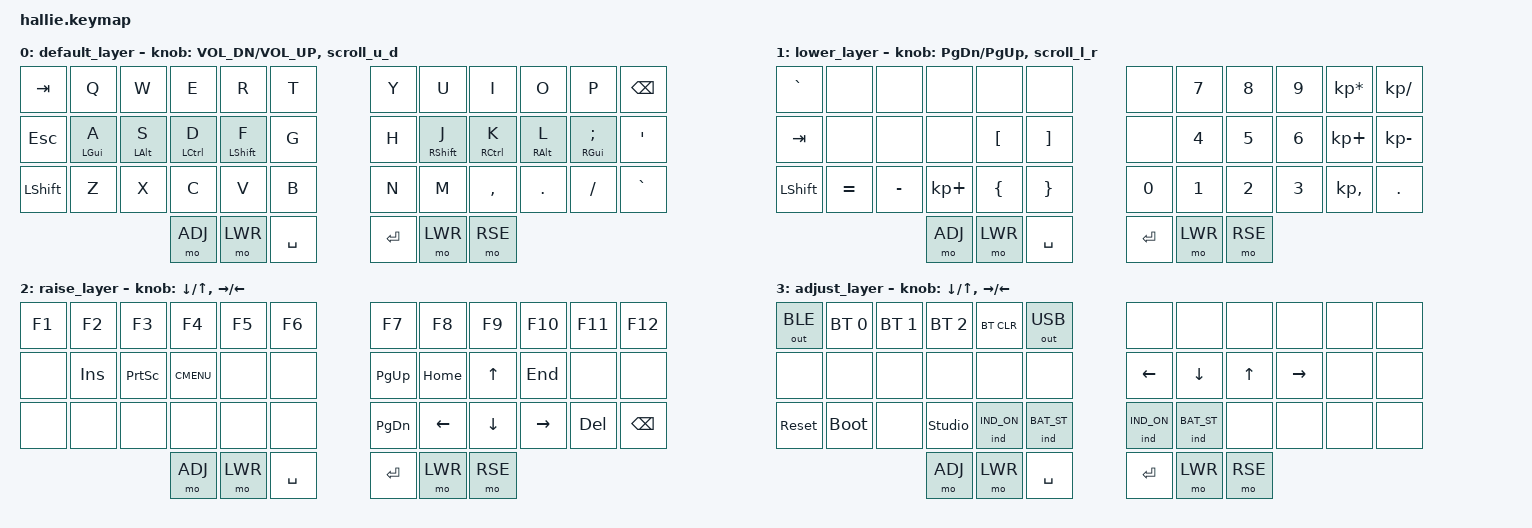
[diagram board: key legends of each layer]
#undef ZMK_BEHAVIORS_KEEP_ALL

#define ZMK_BEHAVIORS_KEEP_IND
#define ZMK_BEHAVIORS_KEEP_BT
#define ZMK_BEHAVIORS_KEEP_GRESC
#define ZMK_BEHAVIORS_KEEP_SYS_RESET
#define ZMK_BEHAVIORS_KEEP_BOOTLOADER
#define ZMK_BEHAVIORS_KEEP_CAPS_WORD
#define ZMK_BEHAVIORS_KEEP_KEY_REPEAT
#define ZMK_BEHAVIORS_KEEP_KT
#define ZMK_BEHAVIORS_KEEP_LT
#define ZMK_BEHAVIORS_KEEP_MT
#define ZMK_BEHAVIORS_KEEP_SK
#define ZMK_BEHAVIORS_KEEP_STICKY_LAYER
#define ZMK_BEHAVIORS_KEEP_TO
#define ZMK_BEHAVIORS_KEEP_TOG
#define ZMK_BEHAVIORS_KEEP_TRANS

#include <dt-bindings/zmk/indicators.h>
#include <behaviors.dtsi>
#include <dt-bindings/zmk/bt.h>
#include <dt-bindings/zmk/keys.h>
#include <dt-bindings/zmk/outputs.h>

#define DEF 0
#define LWR 1
#define RSE 2
#define ADJ 3

&lt { quick_tap_ms = <200>; };

&mt { quick_tap_ms = <200>; };

/ {
    behaviors {
        hmr: hmr {
            compatible = "zmk,behavior-hold-tap";
            label = "HMR";
            bindings = <&kp>, <&kp>;

            #binding-cells = <2>;
            tapping-term-ms = <200>;
            hold-trigger-key-positions = <0 1 2 3 4 5 12 13 14 15 16 17 24 25 26 27 28 29 36 37 38>;
            hold-trigger-on-release;
        };

        hml: hml {
            compatible = "zmk,behavior-hold-tap";
            label = "HML";
            bindings = <&kp>, <&kp>;

            #binding-cells = <2>;
            tapping-term-ms = <200>;
            hold-trigger-key-positions = <6 7 8 9 10 11 18 19 20 21 22 23 30 31 32 33 34 35 39 40 41>;
            hold-trigger-on-release;
        };
    };

    combos {
        compatible = "zmk,combos";

        open_parenthesis {
            bindings = <&kp LEFT_PARENTHESIS>;
            key-positions = <7 8>;
        };

        close_parenthesis {
            bindings = <&kp RIGHT_PARENTHESIS>;
            key-positions = <8 9>;
        };

        open_sb {
            bindings = <&kp LEFT_BRACKET>;
            key-positions = <2 3>;
        };

        close_sb {
            bindings = <&kp RIGHT_BRACKET>;
            key-positions = <3 4>;
        };
    };

    keymap {
        compatible = "zmk,keymap";

        default_layer {
            bindings = <
&kp TAB    &kp Q        &kp W        &kp E         &kp R         &kp T        &kp Y      &kp U         &kp I         &kp O        &kp P           &kp BACKSPACE
&kp ESC    &hml LGUI A  &hml LALT S  &hml LCTRL D  &hml LSHFT F  &kp G        &kp H      &hmr RSHFT J  &hmr RCTRL K  &hmr RALT L  &hmr RGUI SEMI  &kp SQT
&kp LSHFT  &kp Z        &kp X        &kp C         &kp V         &kp B        &kp N      &kp M         &kp COMMA     &kp DOT      &kp SLASH       &kp GRAVE
                                     &mo ADJ       &mo LWR       &kp SPACE    &kp ENTER  &mo LWR       &mo RSE
            >;

            sensor-bindings = <&inc_dec_kp C_VOL_DN C_VOL_UP &scroll_u_d>;
        };

        lower_layer {
            bindings = <
&kp GRAVE  &none      &none      &none        &none     &none        &none      &kp N7   &kp N8   &kp N9  &kp KP_MULTIPLY  &kp KP_DIVIDE
&kp TAB    &none      &none      &none        &kp LBKT  &kp RBKT     &none      &kp N4   &kp N5   &kp N6  &kp KP_PLUS      &kp KP_MINUS
&kp LSHFT  &kp EQUAL  &kp MINUS  &kp KP_PLUS  &kp LBRC  &kp RBRC     &kp N0     &kp N1   &kp N2   &kp N3  &kp KP_COMMA     &kp DOT
                                 &mo ADJ      &mo LWR   &kp SPACE    &kp ENTER  &mo LWR  &mo RSE
            >;

            sensor-bindings = <&inc_dec_kp PG_DN PG_UP &scroll_l_r>;
        };

        raise_layer {
            bindings = <
&kp F1  &kp F2   &kp F3     &kp F4       &kp F5   &kp F6       &kp F7     &kp F8    &kp F9    &kp F10    &kp F11  &kp F12
&none   &kp INS  &kp PSCRN  &kp K_CMENU  &none    &none        &kp PG_UP  &kp HOME  &kp UP    &kp END    &none    &none
&none   &none    &none      &none        &none    &none        &kp PG_DN  &kp LEFT  &kp DOWN  &kp RIGHT  &kp DEL  &kp BSPC
                            &mo ADJ      &mo LWR  &kp SPACE    &kp ENTER  &mo LWR   &mo RSE
            >;

            sensor-bindings = <&inc_dec_kp DOWN_ARROW UP_ARROW &inc_dec_kp RIGHT_ARROW LEFT_ARROW>;
        };

        adjust_layer {
            bindings = <
&out OUT_BLE  &bt BT_SEL 0  &bt BT_SEL 1  &bt BT_SEL 2    &bt BT_CLR   &out OUT_USB    &none           &none           &none         &none            &none  &none
&none         &none         &none         &none           &none        &none           &kp LEFT_ARROW  &kp DOWN_ARROW  &kp UP_ARROW  &kp RIGHT_ARROW  &none  &none
&sys_reset    &bootloader   &none         &studio_unlock  &ind IND_ON  &ind BAT_ST     &ind IND_ON     &ind BAT_ST     &none         &none            &none  &none
                                          &mo ADJ         &mo LWR      &kp SPACE       &kp ENTER       &mo LWR         &mo RSE
            >;

            sensor-bindings = <&inc_dec_kp DOWN_ARROW UP_ARROW &inc_dec_kp RIGHT_ARROW LEFT_ARROW>;
        };

        extra1 { status = "reserved"; };

        extra2 { status = "reserved"; };

        extra3 { status = "reserved"; };

        extra4 { status = "reserved"; };
    };
};
